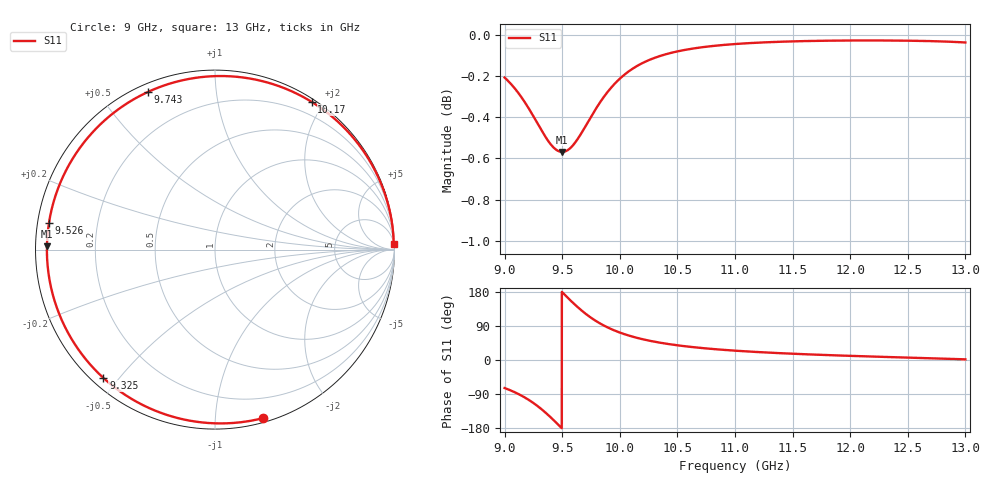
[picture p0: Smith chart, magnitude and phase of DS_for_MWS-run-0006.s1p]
! TOUCHSTONE file generated by CST DESIGN STUDIO
! Date and time: Tue Feb  4 15:59:43 2025
! Project name: C:\Work\MatlabApps\UnitCellOptimizationMatlab\CST\unitcell.cst
! Tree item: Tasks\Sweep1\SPara1\S-Parameters
! Header version: 2024
! Port assignment regex: !\s*Touchstone port\s*([0-9]+)\s*=\s*(CST MWS port|CST DES external port|CST DES block port)\s*(.+)\s* \(\"(.*)\"\)(\s*mode\s*([0-9]+))?.*
! Touchstone port assignment:
! Touchstone port 1 = CST DES external port 1 ("")
# GHz S MA R 50
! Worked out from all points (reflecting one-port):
!   4001 points, 9 GHz to 13 GHz, reference 50 ohm
!   lowest |S11| = -0.6 dB at 9.5 GHz (marker M1), VSWR 30.58, Z = 1.64 + j0.499 ohm
!   phase of S11 starts at -74 deg and turns -284 deg over the sweep
!   S11 on the Smith chart (normalised r, x): 9 GHz: 0.03, -1.33; 9.325 GHz: 0.03, -0.46; 9.526 GHz: 0.03, +0.08; 9.743 GHz: 0.03, +0.66; 10.17 GHz: 0.04, +1.85; 13 GHz: 9, +64
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9  0.9765 -74.0
9.086  0.9707 -84.8
9.188  0.9619 -101.2
9.259  0.9546 -115.5
9.325  0.9476 -131.0
9.372  0.943 -143.4
9.421  0.9392 -157.3
9.461  0.9373 -169.3
9.5  0.9367 178.9
9.526  0.937 170.9
9.579  0.9392 155.1
9.639  0.9439 138.3
9.69  0.949 125.2
9.743  0.9545 113.1
9.795  0.9598 102.6
9.853  0.9652 92.4
9.925  0.971 81.7
10  0.9759 72.4
10.082  0.9801 64.1
10.171  0.9836 56.8
10.321  0.9877 47.2
10.5  0.9909 38.8
10.722  0.9933 31.3
11  0.995 24.6
11.5  0.9965 16.5
12  0.997 10.9
12.5  0.9968 6.3
13  0.9958 1.7
